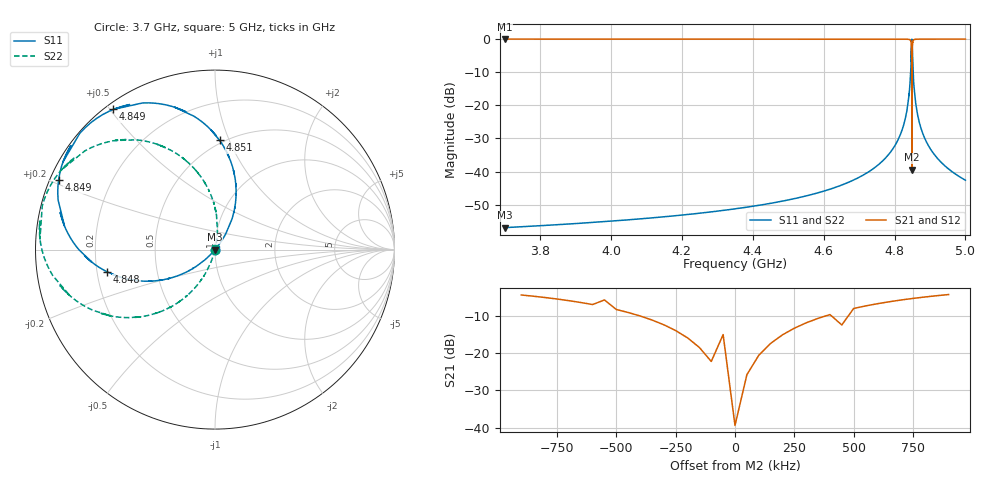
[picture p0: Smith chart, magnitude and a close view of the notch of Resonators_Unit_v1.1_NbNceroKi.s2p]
! Sonnet Data File
! From: emgraph Version : 14.52
! From Emgraph Data: Resonators_Unit_v1.1_NbNceroKi
! Data File Written: 05/17/2020 10:04:29
!< HDATE 05/16/2020 16:55:56
!< MDATE 05/17/2020 03:22:06
# GHZ S MA R 50.00000
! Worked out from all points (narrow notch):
!   699 points, 3.7 GHz to 5 GHz, reference 50 ohm
!   highest |S21| = 0.00 dB at 3.7 GHz (marker M1); lowest = -39.4 dB at 4.849 GHz (marker M2)
!   notch at M2: 39.4 dB deep, 154 kHz wide at half that depth
!   lowest |S11| = -56.9 dB at 3.7 GHz (marker M3), VSWR 1.00, Z = 49.9 - j0.128 ohm
!   |S11| at or under -10 dB: start of sweep to 4.846 GHz; 4.853 GHz to end of sweep
!   |S22| runs from -56.9 to -0.1 dB; largest |S21 - S12| = 7.9e-12
!   S11 on the Smith chart (normalised r, x): 3.7 GHz: 1.00, -0.00; 4.848 GHz: 0.24, -0.10; 4.849 GHz: 0.02, +0.21; 4.849 GHz: 0.02, +0.51; 4.851 GHz: 0.48, +0.92; 5 GHz: 1.01, +0.01
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3.7  0.001421 -115.3  1 -20.6  1 -20.6  0.001421 -104.9
!< P1 F=3.7 Eeff=(6.45852799 -1.3038e-5) Z0=(49.0089553 -2.7367e-5) R=0.0 C=0.0
!< P2 F=3.7 Eeff=(6.45852799 -1.3038e-5) Z0=(49.0089553 -2.7367e-5) R=0.0 C=0.0
4  0.001782 -118.3  1 -22.3  1 -22.3  0.001782 -105.2
4.135  0.002039 -119.9  1 -23.1  1 -23.1  0.002038 -105.3
4.35  0.002731 -122.6  1 -24.3  1 -24.3  0.00273 -105.2
4.57  0.004551 -125.8  1 -25.6  1 -25.6  0.00455 -104.9
4.705  0.008445 -128.2  0.9999 -26.6  0.9999 -26.6  0.008442 -104.7
4.785  0.01853 -130.2  0.9998 -27.6  0.9998 -27.6  0.01852 -105.0
4.84  0.1281 -137.5  0.9916 -34.2  0.9916 -34.2  0.1279 -111.1
4.84015  0.1302 -137.6  0.9914 -34.4  0.9914 -34.4  0.1301 -111.2
4.84535  0.301 -147.8  0.953 -44.4  0.953 -44.4  0.3007 -121.3
4.84755  0.6143 -168.4  0.786 -64.8  0.786 -64.8  0.6137 -141.8
4.84835  0.8561 170.3  0.5076 -85.8  0.5076 -85.8  0.8553 -163.2
4.8487  0.9541 156.0  0.279 -99.4  0.279 -99.4  0.9533 -177.5
4.84905  0.9935 139.3  0.01066 22.6  0.01066 22.6  0.9926 165.9
4.8495  0.9647 125.9  0.2393 47.6  0.2393 47.6  0.9638 152.5
4.85055  0.6091 87.5  0.79 10.6  0.79 10.6  0.6085 114.2
4.8522  0.3452 70.0  0.9377 -6.8  0.9377 -6.8  0.3449 96.7
4.85485  0.1961 61.0  0.9803 -15.7  0.9803 -15.7  0.1959 87.8
4.855  0.1914 60.8  0.9812 -15.9  0.9812 -15.9  0.1912 87.5
4.885  0.03203 51.0  0.9995 -25.3  0.9995 -25.3  0.03199 78.4
4.93  0.01405 49.1  0.9999 -26.6  0.9999 -26.6  0.01403 77.5
5  0.0074 47.4  0.9999 -27.4  0.9999 -27.4  0.007383 77.5
